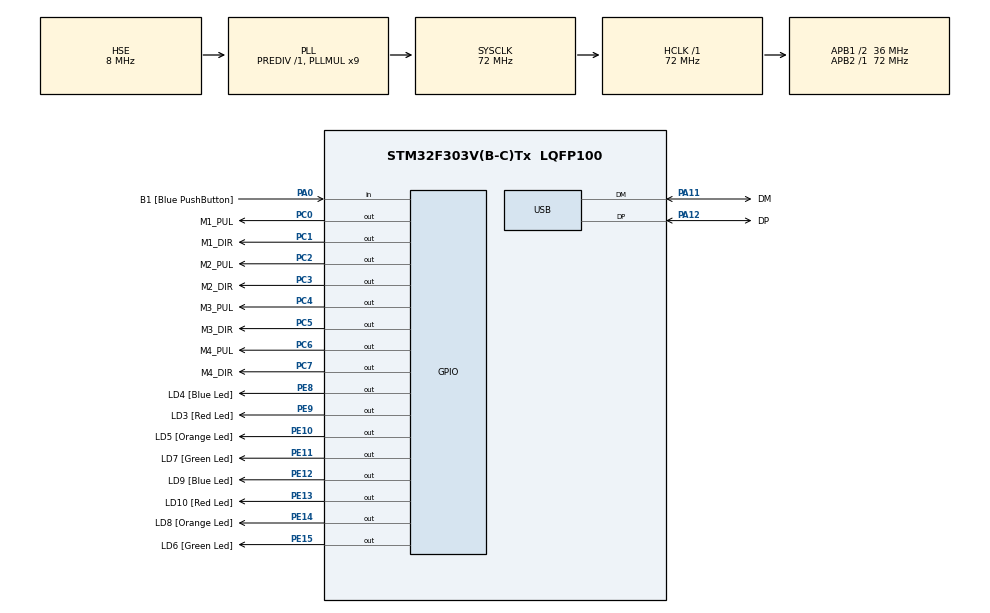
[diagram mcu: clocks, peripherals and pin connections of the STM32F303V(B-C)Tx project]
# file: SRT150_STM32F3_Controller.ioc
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Mcu.Family=STM32F3
Mcu.Name=STM32F303V(B-C)Tx
Mcu.Package=LQFP100
NVIC.PriorityGroup=NVIC_PRIORITYGROUP_0
NVIC.USB_LP_CAN_RX0_IRQn=true\:0\:0\:false\:false\:true\:false\:true
PA0.GPIO_Label=B1 [Blue PushButton]
PA0.Signal=GPIO_Input
PA11.GPIO_Label=DM
PA11.Mode=Device
PA11.Signal=USB_DM
PA12.GPIO_Label=DP
PA12.Mode=Device
PA12.Signal=USB_DP
PA13.GPIO_Label=SWDIO
PA13.Mode=Serial_Wire
PA13.Signal=SYS_JTMS-SWDIO
PA14.GPIO_Label=SWCLK
PA14.Mode=Serial_Wire
PA14.Signal=SYS_JTCK-SWCLK
PB3.GPIO_Label=SWO
PB3.Signal=SYS_JTDO-TRACESWO
PC0.GPIO_Label=M1_PUL
PC0.GPIO_Speed=GPIO_SPEED_FREQ_HIGH
PC0.Signal=GPIO_Output
PC1.GPIO_Label=M1_DIR
PC1.GPIO_Speed=GPIO_SPEED_FREQ_HIGH
PC1.Signal=GPIO_Output
PC2.GPIO_Label=M2_PUL
PC2.GPIO_Speed=GPIO_SPEED_FREQ_HIGH
PC2.Signal=GPIO_Output
PC3.GPIO_Label=M2_DIR
PC3.GPIO_Speed=GPIO_SPEED_FREQ_HIGH
PC3.Signal=GPIO_Output
PC4.GPIO_Label=M3_PUL
PC4.GPIO_Speed=GPIO_SPEED_FREQ_HIGH
PC4.Signal=GPIO_Output
PC5.GPIO_Label=M3_DIR
PC5.GPIO_Speed=GPIO_SPEED_FREQ_HIGH
PC5.Signal=GPIO_Output
PC6.GPIO_Label=M4_PUL
PC6.GPIO_Speed=GPIO_SPEED_FREQ_HIGH
PC6.Signal=GPIO_Output
PC7.GPIO_Label=M4_DIR
PC7.GPIO_Speed=GPIO_SPEED_FREQ_HIGH
PC7.Signal=GPIO_Output
PE10.GPIO_Label=LD5 [Orange Led]
PE10.GPIO_Speed=GPIO_SPEED_FREQ_HIGH
PE10.Signal=GPIO_Output
PE11.GPIO_Label=LD7 [Green Led]
PE11.GPIO_Speed=GPIO_SPEED_FREQ_HIGH
PE11.Signal=GPIO_Output
PE12.GPIO_Label=LD9 [Blue Led]
PE12.GPIO_Speed=GPIO_SPEED_FREQ_HIGH
PE12.Signal=GPIO_Output
PE13.GPIO_Label=LD10 [Red Led]
PE13.GPIO_Speed=GPIO_SPEED_FREQ_HIGH
PE13.Signal=GPIO_Output
PE14.GPIO_Label=LD8 [Orange Led]
PE14.GPIO_Speed=GPIO_SPEED_FREQ_HIGH
PE14.Signal=GPIO_Output
PE15.GPIO_Label=LD6 [Green Led]
PE15.GPIO_Speed=GPIO_SPEED_FREQ_HIGH
PE15.Signal=GPIO_Output
PE8.GPIO_Label=LD4 [Blue Led]
PE8.GPIO_Speed=GPIO_SPEED_FREQ_HIGH
PE8.Signal=GPIO_Output
PE9.GPIO_Label=LD3 [Red Led]
PE9.GPIO_Speed=GPIO_SPEED_FREQ_HIGH
PE9.Signal=GPIO_Output
PF0-OSC_IN.GPIO_Label=OSC_IN
PF0-OSC_IN.Mode=HSE-External-Clock-Source
PF0-OSC_IN.Signal=RCC_OSC_IN
PF1-OSC_OUT.GPIO_Label=OSC_OUT
PF1-OSC_OUT.Signal=RCC_OSC_OUT
ProjectManager.HeapSize=0x200
ProjectManager.StackSize=0x400
ProjectManager.TargetToolchain=Makefile
RCC.AHBFreq_Value=72000000
RCC.APB1CLKDivider=RCC_HCLK_DIV2
RCC.APB1Freq_Value=36000000
RCC.APB1TimFreq_Value=72000000
RCC.APB2Freq_Value=72000000
RCC.APB2TimFreq_Value=72000000
RCC.CortexFreq_Value=72000000
RCC.HCLKFreq_Value=72000000
RCC.HSE_VALUE=8000000
RCC.HSI_VALUE=8000000
RCC.LSE_VALUE=32768
RCC.PLLMUL=RCC_PLL_MUL9
RCC.PRESCALERUSB=RCC_USBCLKSOURCE_PLL_DIV1_5
RCC.SYSCLKFreq_VALUE=72000000
RCC.SYSCLKSourceVirtual=RCC_SYSCLKSOURCE_PLLCLK
RCC.USBFreq_Value=48000000
TIM3.AutoReloadPreload=TIM_AUTORELOAD_PRELOAD_DISABLE
TIM3.Period=65535
TIM3.Prescaler=71
USB_DEVICE.CLASS_NAME_FS=CDC
USB_DEVICE.VirtualMode=Cdc
USB_DEVICE.VirtualModeFS=Cdc_FS
VP_TIM3_VS_ClockSourceINT.Mode=Internal
VP_USB_DEVICE_VS_USB_DEVICE_CDC_FS.Mode=CDC_FS
board=STM32F3DISCOVERY

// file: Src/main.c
/* USER CODE BEGIN Header */
/**
  ******************************************************************************
  * @file           : main.c
  * @brief          : Main program body
  ******************************************************************************
  * @attention
  *
  * Copyright (c) 2022 STMicroelectronics.
  * All rights reserved.
  *
  * This software is licensed under terms that can be found in the LICENSE file
  * in the root directory of this software component.
  * If no LICENSE file comes with this software, it is provided AS-IS.
  *
  ******************************************************************************
  */
/* USER CODE END Header */
#include "main.h"
#include "usb_device.h"

/* USER CODE BEGIN Includes */

#include "usbd_cdc_if.h"

/* USER CODE END Includes */

TIM_HandleTypeDef htim3;

void SystemClock_Config(void);
static void MX_GPIO_Init(void);
static void MX_TIM3_Init(void);
/* USER CODE BEGIN PFP */

void Delay_Us (uint16_t us);

/* USER CODE END PFP */

int main(void)
{

  /* MCU Configuration--------------------------------------------------------*/

  /* Reset of all peripherals, Initializes the Flash interface and the Systick. */
  HAL_Init();

  /* Configure the system clock */
  SystemClock_Config();

  /* Initialize all configured peripherals */
  MX_GPIO_Init();
  MX_USB_DEVICE_Init();
  MX_TIM3_Init();
  /* USER CODE BEGIN 2 */

  HAL_GPIO_WritePin (M1_PUL_GPIO_Port, M1_PUL_Pin, GPIO_PIN_SET);
  HAL_GPIO_WritePin (M2_PUL_GPIO_Port, M2_PUL_Pin, GPIO_PIN_SET);
  HAL_GPIO_WritePin (M3_PUL_GPIO_Port, M3_PUL_Pin, GPIO_PIN_SET);
  HAL_GPIO_WritePin (M4_PUL_GPIO_Port, M4_PUL_Pin, GPIO_PIN_SET);

  HAL_TIM_Base_Start(&htim3);

  uint16_t M_Pos[4] = {0};
  uint16_t M_Pos_Target[4] = {0};

  GPIO_PinState M_Dir[4] =
   {GPIO_PIN_RESET,
    GPIO_PIN_RESET,
    GPIO_PIN_RESET,
    GPIO_PIN_RESET};

  GPIO_TypeDef *M_PUL_GPIO_Port[4] =
   {M1_PUL_GPIO_Port,
    M2_PUL_GPIO_Port,
    M3_PUL_GPIO_Port,
    M4_PUL_GPIO_Port};

  const uint16_t M_PUL_Pin[4] =
   {M1_PUL_Pin,
    M2_PUL_Pin,
    M3_PUL_Pin,
    M4_PUL_Pin};

  GPIO_TypeDef *M_DIR_GPIO_Port[4] =
   {M1_DIR_GPIO_Port,
    M2_DIR_GPIO_Port,
    M3_DIR_GPIO_Port,
    M4_DIR_GPIO_Port};

  const uint16_t M_DIR_Pin[4] =
   {M1_DIR_Pin,
    M2_DIR_Pin,
    M3_DIR_Pin,
    M4_DIR_Pin};

  GPIO_TypeDef *M_LED_GPIO_Port[4] =
   {LD5_GPIO_Port,
    LD9_GPIO_Port,
    LD8_GPIO_Port,
    LD4_GPIO_Port};

  const uint16_t M_LED_Pin[4] =
   {LD5_Pin,
    LD9_Pin,
    LD8_Pin,
    LD4_Pin};

  uint16_t M_Delay = DEFAULT_DELAY;
  uint16_t Previous_M_Delay = DEFAULT_DELAY;

  /* USER CODE END 2 */

  /* Infinite loop */
  while (1)
  {

    /* USER CODE BEGIN 3 */

    if (Is_New_Pos() > 0) {
      M_Pos_Target[0] = Get_M1_Pos_Target();
      M_Pos_Target[1] = Get_M2_Pos_Target();
      M_Pos_Target[2] = Get_M3_Pos_Target();
      M_Pos_Target[3] = Get_M4_Pos_Target();

      uint16_t Dist[4] = {0};

      for (int i = 0; i < 4; i++) {
        if (M_Pos[i] > M_Pos_Target[i]) {
          Dist[i] = M_Pos[i] - M_Pos_Target[i];
        } else {
          Dist[i] = M_Pos_Target[i] - M_Pos[i];
        }
      }

      if (Dist[0] > 0 ||
          Dist[1] > 0 ||
          Dist[2] > 0 ||
          Dist[3] > 0) {
        M_Delay =
         MAX (MESSAGE_PERIOD / MAX (MAX (MAX (Dist[0], Dist[1]), Dist[2]), Dist[3]), MIN_DELAY);
      }
    }

    if (M_Pos[0] != M_Pos_Target[0] ||
        M_Pos[1] != M_Pos_Target[1] ||
        M_Pos[2] != M_Pos_Target[2] ||
        M_Pos[3] != M_Pos_Target[3]) {
      uint8_t Change_DIR = 0;

      for (int i = 0; i < 4; i++) {
        if (M_Pos[i] != M_Pos_Target[i]) {
          const GPIO_PinState New_Dir =
           (M_Pos[i] < M_Pos_Target[i]) ? GPIO_PIN_RESET : GPIO_PIN_SET;

          if (New_Dir != M_Dir[i]) {
            HAL_GPIO_WritePin (M_DIR_GPIO_Port[i], M_DIR_Pin[i], New_Dir);

            M_Dir[i] = New_Dir;

            Change_DIR = 1;
          }
        }
      }

      if (Change_DIR > 0) {
        if (M_Delay < DEFAULT_DELAY) {
          Previous_M_Delay = DEFAULT_DELAY;
        } else {
          Previous_M_Delay = M_Delay;
        }

        Delay_Us(DIR_DELAY);
      } else {
        if (Previous_M_Delay > M_Delay + DEFAULT_DELAY) {
          Previous_M_Delay = DEFAULT_DELAY;
        } else if (Previous_M_Delay > M_Delay) {
          Previous_M_Delay--;
        } else {
          Previous_M_Delay = M_Delay;
        }
      }

      for (int i = 0; i < 4; i++) {
        if (M_Pos[i] != M_Pos_Target[i]) {
          HAL_GPIO_WritePin (M_PUL_GPIO_Port[i], M_PUL_Pin[i], GPIO_PIN_RESET);
          HAL_GPIO_WritePin (M_LED_GPIO_Port[i], M_LED_Pin[i], GPIO_PIN_SET);
        }
      }

      Delay_Us(PUL_DOWN_DELAY);

      for (int i = 0; i < 4; i++) {
        if (M_Pos[i] != M_Pos_Target[i]) {
          if (M_Dir[i] == GPIO_PIN_RESET) {
            M_Pos[i]++;
          } else {
            M_Pos[i]--;
          }

          HAL_GPIO_WritePin (M_PUL_GPIO_Port[i], M_PUL_Pin[i], GPIO_PIN_SET);
          HAL_GPIO_WritePin (M_LED_GPIO_Port[i], M_LED_Pin[i], GPIO_PIN_RESET);
        }
      }

      if (Previous_M_Delay > PUL_DOWN_DELAY + WAISTED_DELAY) {
        Delay_Us(Previous_M_Delay - PUL_DOWN_DELAY - WAISTED_DELAY);
      }
    } else {
      Previous_M_Delay = DEFAULT_DELAY;
    }
  }

  /* USER CODE END 3 */
}

void SystemClock_Config(void)
{
  RCC_OscInitTypeDef RCC_OscInitStruct = {0};
  RCC_ClkInitTypeDef RCC_ClkInitStruct = {0};
  RCC_PeriphCLKInitTypeDef PeriphClkInit = {0};

  /** Initializes the RCC Oscillators according to the specified parameters
  * in the RCC_OscInitTypeDef structure.
  */
  RCC_OscInitStruct.OscillatorType = RCC_OSCILLATORTYPE_HSE;
  RCC_OscInitStruct.HSEState = RCC_HSE_BYPASS;
  RCC_OscInitStruct.HSEPredivValue = RCC_HSE_PREDIV_DIV1;
  RCC_OscInitStruct.HSIState = RCC_HSI_ON;
  RCC_OscInitStruct.PLL.PLLState = RCC_PLL_ON;
  RCC_OscInitStruct.PLL.PLLSource = RCC_PLLSOURCE_HSE;
  RCC_OscInitStruct.PLL.PLLMUL = RCC_PLL_MUL9;
  if (HAL_RCC_OscConfig(&RCC_OscInitStruct) != HAL_OK)
  {
    Error_Handler();
  }
  /** Initializes the CPU, AHB and APB buses clocks
  */
  RCC_ClkInitStruct.ClockType = RCC_CLOCKTYPE_HCLK|RCC_CLOCKTYPE_SYSCLK
                              |RCC_CLOCKTYPE_PCLK1|RCC_CLOCKTYPE_PCLK2;
  RCC_ClkInitStruct.SYSCLKSource = RCC_SYSCLKSOURCE_PLLCLK;
  RCC_ClkInitStruct.AHBCLKDivider = RCC_SYSCLK_DIV1;
  RCC_ClkInitStruct.APB1CLKDivider = RCC_HCLK_DIV2;
  RCC_ClkInitStruct.APB2CLKDivider = RCC_HCLK_DIV1;

  if (HAL_RCC_ClockConfig(&RCC_ClkInitStruct, FLASH_LATENCY_2) != HAL_OK)
  {
    Error_Handler();
  }
  PeriphClkInit.PeriphClockSelection = RCC_PERIPHCLK_USB;
  PeriphClkInit.USBClockSelection = RCC_USBCLKSOURCE_PLL_DIV1_5;
  if (HAL_RCCEx_PeriphCLKConfig(&PeriphClkInit) != HAL_OK)
  {
    Error_Handler();
  }
}

static void MX_TIM3_Init(void)
{

  TIM_ClockConfigTypeDef sClockSourceConfig = {0};
  TIM_MasterConfigTypeDef sMasterConfig = {0};

  htim3.Instance = TIM3;
  htim3.Init.Prescaler = 71;
  htim3.Init.CounterMode = TIM_COUNTERMODE_UP;
  htim3.Init.Period = 65535;
  htim3.Init.ClockDivision = TIM_CLOCKDIVISION_DIV1;
  htim3.Init.AutoReloadPreload = TIM_AUTORELOAD_PRELOAD_DISABLE;
  if (HAL_TIM_Base_Init(&htim3) != HAL_OK)
  {
    Error_Handler();
  }
  sClockSourceConfig.ClockSource = TIM_CLOCKSOURCE_INTERNAL;
  if (HAL_TIM_ConfigClockSource(&htim3, &sClockSourceConfig) != HAL_OK)
  {
    Error_Handler();
  }
  sMasterConfig.MasterOutputTrigger = TIM_TRGO_RESET;
  sMasterConfig.MasterSlaveMode = TIM_MASTERSLAVEMODE_DISABLE;
  if (HAL_TIMEx_MasterConfigSynchronization(&htim3, &sMasterConfig) != HAL_OK)
  {
    Error_Handler();
  }

}

static void MX_GPIO_Init(void)
{
  GPIO_InitTypeDef GPIO_InitStruct = {0};

  /* GPIO Ports Clock Enable */
  __HAL_RCC_GPIOF_CLK_ENABLE();
  __HAL_RCC_GPIOC_CLK_ENABLE();
  __HAL_RCC_GPIOA_CLK_ENABLE();
  __HAL_RCC_GPIOE_CLK_ENABLE();
  __HAL_RCC_GPIOB_CLK_ENABLE();

  /*Configure GPIO pin Output Level */
  HAL_GPIO_WritePin(GPIOC, M1_PUL_Pin|M1_DIR_Pin|M2_PUL_Pin|M2_DIR_Pin
                          |M3_PUL_Pin|M3_DIR_Pin|M4_PUL_Pin|M4_DIR_Pin, GPIO_PIN_RESET);

  /*Configure GPIO pin Output Level */
  HAL_GPIO_WritePin(GPIOE, LD4_Pin|LD3_Pin|LD5_Pin|LD7_Pin
                          |LD9_Pin|LD10_Pin|LD8_Pin|LD6_Pin, GPIO_PIN_RESET);

  /*Configure GPIO pins : M1_PUL_Pin M1_DIR_Pin M2_PUL_Pin M2_DIR_Pin
                           M3_PUL_Pin M3_DIR_Pin M4_PUL_Pin M4_DIR_Pin */
  GPIO_InitStruct.Pin = M1_PUL_Pin|M1_DIR_Pin|M2_PUL_Pin|M2_DIR_Pin
                          |M3_PUL_Pin|M3_DIR_Pin|M4_PUL_Pin|M4_DIR_Pin;
  GPIO_InitStruct.Mode = GPIO_MODE_OUTPUT_PP;
  GPIO_InitStruct.Pull = GPIO_NOPULL;
  GPIO_InitStruct.Speed = GPIO_SPEED_FREQ_HIGH;
  HAL_GPIO_Init(GPIOC, &GPIO_InitStruct);

  /*Configure GPIO pin : B1_Pin */
  GPIO_InitStruct.Pin = B1_Pin;
  GPIO_InitStruct.Mode = GPIO_MODE_INPUT;
  GPIO_InitStruct.Pull = GPIO_NOPULL;
  HAL_GPIO_Init(B1_GPIO_Port, &GPIO_InitStruct);

  /*Configure GPIO pins : LD4_Pin LD3_Pin LD5_Pin LD7_Pin
                           LD9_Pin LD10_Pin LD8_Pin LD6_Pin */
  GPIO_InitStruct.Pin = LD4_Pin|LD3_Pin|LD5_Pin|LD7_Pin
                          |LD9_Pin|LD10_Pin|LD8_Pin|LD6_Pin;
  GPIO_InitStruct.Mode = GPIO_MODE_OUTPUT_PP;
  GPIO_InitStruct.Pull = GPIO_NOPULL;
  GPIO_InitStruct.Speed = GPIO_SPEED_FREQ_HIGH;
  HAL_GPIO_Init(GPIOE, &GPIO_InitStruct);

}

/* USER CODE BEGIN 4 */

void Delay_Us (uint16_t us)
{
  __HAL_TIM_SET_COUNTER(&htim3, 0);
  while (__HAL_TIM_GET_COUNTER(&htim3) < us);
}

/* USER CODE END 4 */

void Error_Handler(void)
{
  __disable_irq();
  while (1)
  {
  }
}
